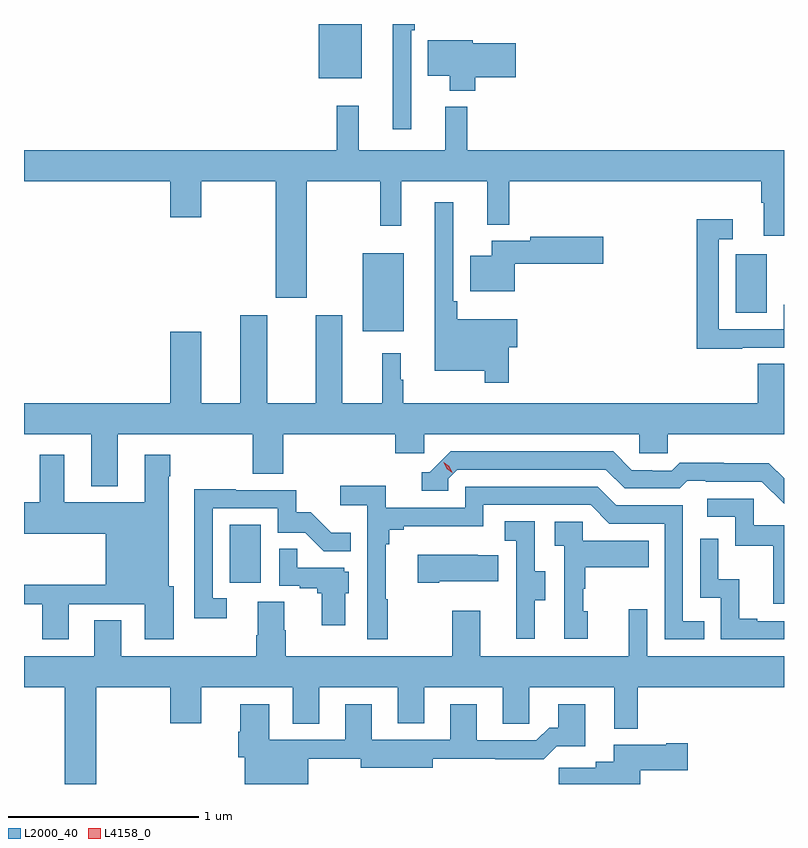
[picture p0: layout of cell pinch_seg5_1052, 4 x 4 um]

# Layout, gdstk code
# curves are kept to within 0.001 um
import gdstk
lib = gdstk.Library(unit=1e-6, precision=1e-09)
def R(c, l, rs):  # rectangles x0, y0, x1, y1
    for r in rs: c.add(gdstk.rectangle(r[:2], r[2:], *l))
def P(c, l, *ps):  # polygons
    for p in ps: c.add(gdstk.Polygon(p, *l))
L2000_40 = (2000, 40)
L4158_0 = (4158, 0)

pinch_seg5_1052 = lib.new_cell('pinch_seg5_1052')
R(pinch_seg5_1052, L2000_40, [(860.624,867.966,860.788,868.273), (861.326,869.291,861.541,869.701), (863.288,869.388,863.452,869.695), (861.092,870.623,861.319,870.908)])
P(pinch_seg5_1052, L2000_40, [(861.579,870.875),(861.599,870.875),(861.599,870.908),(861.482,870.908),(861.482,870.354),(861.579,870.354)],
  [(861.917,870.628),(862.129,870.628),(862.129,870.806),(861.904,870.806),(861.904,870.823),(861.668,870.823),(861.668,870.635),(861.782,870.635),(861.782,870.557),(861.917,870.557)],
  [(861.031,870.08),(861.417,870.08),(861.417,869.847),(861.527,869.847),(861.527,870.08),(861.98,870.08),(861.98,869.852),(862.097,869.852),(862.097,870.08),(863.423,870.08),(863.423,869.968),(863.435,869.968),(863.435,869.794),(863.542,869.794),(863.542,870.244),(861.875,870.244),(861.875,870.472),(861.758,870.472),(861.758,870.244),(861.305,870.244),(861.305,870.478),(861.187,870.478),(861.187,870.244),(859.542,870.244),(859.542,870.08),(860.312,870.08),(860.312,869.892),(860.476,869.892),(860.476,870.08),(860.867,870.08),(860.867,869.466),(861.031,869.466)],
  [(862.094,869.206),(862.138,869.206),(862.138,869.353),(861.821,869.353),(861.821,869.449),(861.801,869.449),(861.801,869.971),(861.704,869.971),(861.704,869.084),(861.966,869.084),(861.966,869.019),(862.094,869.019)],
  [(863.321,869.205),(863.542,869.205),(863.542,869.43),(863.541,869.43),(863.541,869.301),(863.199,869.301),(863.199,869.775),(863.272,869.775),(863.272,869.881),(863.083,869.881),(863.083,869.2),(863.321,869.2)],
  [(862.126,869.645),(862.591,869.645),(862.591,869.787),(862.206,869.787),(862.206,869.767),(862.004,869.767),(862.004,869.689),(861.89,869.689),(861.89,869.501),(862.126,869.501)],
  [(860.035,868.748),(860.746,868.748),(860.746,868.54),(860.906,868.54),(860.906,868.748),(861.497,868.748),(861.497,868.65),(861.648,868.65),(861.648,868.748),(862.779,868.748),(862.779,868.65),(862.929,868.65),(862.929,868.748),(863.542,868.748),(863.542,869.12),(863.405,869.12),(863.405,868.912),(861.538,868.912),(861.538,869.036),(861.526,869.036),(861.526,869.176),(861.428,869.176),(861.428,868.912),(861.217,868.912),(861.217,869.374),(861.077,869.374),(861.077,868.912),(860.821,868.912),(860.821,869.374),(860.681,869.374),(860.681,868.912),(860.476,868.912),(860.476,869.287),(860.312,869.287),(860.312,868.912),(859.542,868.912),(859.542,868.748),(859.895,868.748),(859.895,868.475),(860.035,868.475)],
  [(863.542,868.517),(863.462,868.597),(863.226,868.597),(863.226,868.6),(862.993,868.6),(862.951,868.557),(862.848,868.557),(862.848,868.56),(862.741,868.56),(862.642,868.659),(861.789,868.659),(861.678,868.548),(861.635,868.548),(861.635,868.452),(861.774,868.452),(861.774,868.515),(861.822,868.563),(862.605,868.563),(862.704,868.464),(862.993,868.464),(863.032,868.503),(863.131,868.503),(863.131,868.5),(863.424,868.5),(863.542,868.382)],
  [(859.777,867.855),(860.177,867.855),(860.177,867.669),(860.329,867.669),(860.329,867.948),(860.305,867.948),(860.305,868.529),(860.313,868.529),(860.313,868.642),(860.177,868.642),(860.177,868.39),(859.753,868.39),(859.753,868.642),(859.625,868.642),(859.625,868.39),(859.542,868.39),(859.542,868.226),(859.973,868.226),(859.973,867.956),(859.542,867.956),(859.542,867.855),(859.637,867.855),(859.637,867.669),(859.777,867.669)],
  [(861.457,867.881),(861.445,867.881),(861.445,868.169),(861.464,868.169),(861.464,868.246),(861.541,868.246),(861.541,868.265),(861.96,868.265),(861.96,868.377),(862.524,868.377),(862.623,868.278),(862.914,868.278),(862.914,867.669),(863.123,867.669),(863.123,867.765),(863.01,867.765),(863.01,868.374),(862.66,868.374),(862.561,868.473),(861.864,868.473),(861.864,868.362),(861.446,868.362),(861.446,868.478),(861.207,868.478),(861.207,868.376),(861.348,868.376),(861.348,867.669),(861.457,867.669)],
  [(860.608,867.885),(860.535,867.885),(860.535,868.359),(860.877,868.359),(860.877,868.23),(861.021,868.23),(861.119,868.132),(861.263,868.132),(861.263,868.231),(861.159,868.231),(861.052,868.338),(860.976,868.338),(860.976,868.455),(860.657,868.455),(860.657,868.46),(860.438,868.46),(860.439,867.78),(860.608,867.78)],
  [(863.542,868.269),(863.382,868.269),(863.382,868.41),(863.139,868.41),(863.139,868.314),(863.286,868.314),(863.286,868.161),(863.485,868.161),(863.485,867.858),(863.542,867.858)],
  [(862.231,867.874),(862.285,867.874),(862.285,868.029),(862.23,868.029),(862.23,868.292),(862.071,868.292),(862.071,868.189),(862.134,868.189),(862.134,867.885),(862.133,867.885),(862.133,867.672),(862.231,867.672)],
  [(862.51,867.816),(862.485,867.816),(862.485,867.935),(862.495,867.935),(862.495,868.049),(862.829,868.049),(862.829,868.189),(862.482,868.189),(862.482,868.287),(862.335,868.287),(862.335,868.163),(862.386,868.163),(862.386,867.672),(862.51,867.672)],
  [(863.542,867.765),(863.401,867.765),(863.401,867.778),(863.306,867.778),(863.306,867.986),(863.196,867.986),(863.196,868.198),(863.1,868.198),(863.1,867.888),(863.208,867.888),(863.208,867.669),(863.542,867.669)],
  [(861.232,867.912),(861.25,867.912),(861.25,868.026),(861.228,868.026),(861.228,868.047),(860.981,868.047),(860.981,868.145),(860.886,868.145),(860.886,867.951),(860.993,867.951),(860.993,867.939),(861.085,867.939),(861.085,867.912),(861.11,867.912),(861.11,867.744),(861.232,867.744)],
  [(861.727,867.974),(862.037,867.974),(862.037,868.111),(861.929,868.111),(861.929,868.114),(861.615,868.114),(861.615,867.967),(861.727,867.967)],
  [(859.921,867.416),(860.312,867.416),(860.312,867.228),(860.476,867.228),(860.476,867.416),(860.957,867.416),(860.957,867.226),(861.097,867.226),(861.097,867.416),(861.509,867.416),(861.509,867.227),(861.649,867.227),(861.649,867.416),(862.061,867.416),(862.061,867.226),(862.2,867.226),(862.2,867.416),(862.649,867.416),(862.649,867.2),(862.771,867.2),(862.771,867.416),(863.542,867.416),(863.542,867.58),(862.821,867.58),(862.821,867.829),(862.724,867.829),(862.724,867.58),(861.943,867.58),(861.943,867.82),(861.796,867.82),(861.796,867.58),(860.919,867.58),(860.919,867.717),(860.911,867.717),(860.911,867.866),(860.771,867.866),(860.771,867.692),(860.764,867.692),(860.764,867.58),(860.053,867.58),(860.053,867.77),(859.913,867.77),(859.913,867.58),(859.542,867.58),(859.542,867.416),(859.757,867.416),(859.757,866.908),(859.921,866.908)],
  [(861.037,867.04),(861.314,867.04),(861.314,866.993),(861.694,866.993),(861.694,867.04),(862.021,867.04),(862.021,867.038),(862.277,867.038),(862.346,867.107),(862.495,867.107),(862.495,867.328),(862.355,867.328),(862.355,867.205),(862.306,867.205),(862.239,867.138),(861.925,867.138),(861.925,867.328),(861.785,867.328),(861.785,867.141),(861.373,867.142),(861.373,867.328),(861.233,867.328),(861.233,867.141),(860.833,867.141),(860.833,867.328),(860.681,867.328),(860.681,867.182),(860.669,867.182),(860.669,867.048),(860.705,867.048),(860.705,866.908),(861.037,866.908)],
  [(862.786,866.981),(863.035,866.981),(863.035,867.123),(862.922,867.123),(862.922,867.115),(862.646,867.115),(862.646,867.025),(862.55,867.025),(862.55,866.993),(862.356,866.993),(862.356,866.908),(862.786,866.908)])
P(pinch_seg5_1052, L4158_0, [(861.796,868.547),(861.766,868.567),(861.75,868.6),(861.75,868.601),(861.75,868.601),(861.781,868.58),(861.796,868.547),(861.796,868.547)])

lib.write_gds('pinch_seg5_1052.gds')
